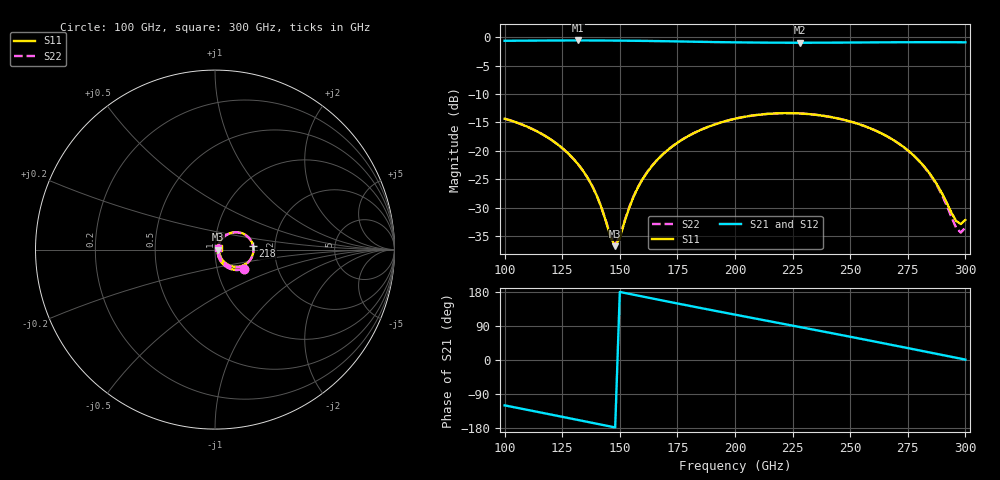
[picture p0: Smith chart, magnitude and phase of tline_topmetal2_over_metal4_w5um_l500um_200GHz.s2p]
#  GHZ S DB R 50
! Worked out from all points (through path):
!   101 points, 100 GHz to 300 GHz, reference 50 ohm
!   highest |S21| = -0.56 dB at 132 GHz (marker M1); lowest = -1.0 dB at 228 GHz (marker M2)
!   group delay of S21, straight-line fit = 3.31 ps
!   lowest |S11| = -36.8 dB at 148 GHz (marker M3), VSWR 1.03, Z = 51.5 - j0.1 ohm
!   |S11| at or under -10 dB: start of sweep to end of sweep
!   |S22| runs from -36.5 to -13.4 dB; largest |S21 - S12| = 1.1e-14
!   S11 on the Smith chart (normalised r, x): 100 GHz: 1.34, -0.30; 218 GHz: 1.54, +0.06; 300 GHz: 1.05, +0.02
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100  -14.34 -33.9  -0.62 -119.8  -0.62 -119.8  -14.35 -33.9
118  -17.48 -52.3  -0.58 -141.4  -0.58 -141.4  -17.48 -52.3
132  -22.43 -63.6  -0.56 -158.4  -0.56 -158.4  -22.44 -63.4
134  -23.51 -64.4  -0.57 -160.9  -0.57 -160.9  -23.51 -64.2
140  -27.91 -62.9  -0.57 -168.2  -0.57 -168.2  -27.89 -62.4
146  -35.24 -34.3  -0.58 -175.6  -0.58 -175.6  -35.04 -33.2
148  -36.81 -3.9  -0.59 -178.0  -0.59 -178.0  -36.49 -3.6
150  -35.35 26.9  -0.60 179.6  -0.60 179.6  -35.08 26.0
158  -26.37 57.9  -0.63 169.8  -0.63 169.8  -26.31 57.0
168  -20.89 54.8  -0.69 157.6  -0.69 157.6  -20.87 54.2
182  -16.93 42.6  -0.78 140.9  -0.78 140.9  -16.91 42.0
200  -14.36 24.3  -0.90 119.7  -0.90 119.7  -14.35 23.6
218  -13.41 5.1  -0.96 98.8  -0.96 98.8  -13.40 4.4
228  -13.43 -5.6  -0.96 87.2  -0.96 87.2  -13.42 -6.3
234  -13.62 -11.9  -0.96 80.2  -0.96 80.2  -13.61 -12.7
250  -14.84 -28.6  -0.93 61.4  -0.93 61.4  -14.84 -29.6
268  -17.92 -45.7  -0.89 39.9  -0.89 39.9  -17.93 -47.3
284  -23.73 -53.9  -0.87 20.5  -0.87 20.5  -23.82 -57.1
290  -27.63 -48.2  -0.87 13.2  -0.87 13.2  -27.93 -52.9
296  -32.37 -18.0  -0.88 5.9  -0.88 5.9  -33.59 -22.7
298  -32.91 1.4  -0.89 3.4  -0.89 3.4  -34.42 0.2
300  -32.19 20.3  -0.89 1.0  -0.89 1.0  -33.52 22.9
